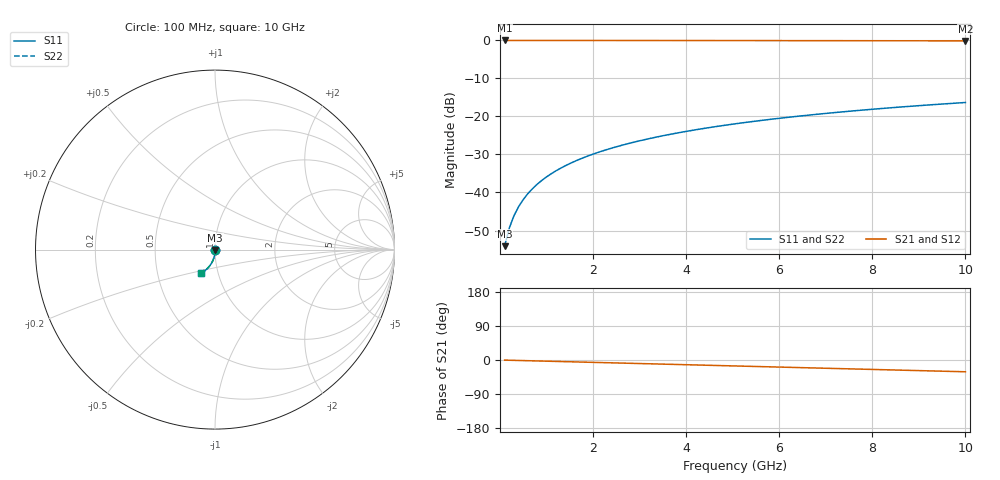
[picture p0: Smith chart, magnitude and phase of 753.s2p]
# Hz S RI R 50.00
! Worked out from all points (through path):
!   100 points, 100 MHz to 10 GHz, reference 50 ohm
!   highest |S21| = -0.01 dB at 100 MHz (marker M1); lowest = -0.1 dB at 10 GHz (marker M2)
!   group delay of S21, straight-line fit = 8.64 ps
!   lowest |S11| = -54.1 dB at 100 MHz (marker M3), VSWR 1.00, Z = 50.1 - j0.161 ohm
!   |S11| at or under -10 dB: start of sweep to end of sweep
!   |S22| runs from -54.1 to -16.3 dB; largest |S21 - S12| = 0
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1e8  0.00114 -0.0016  0.9988 -0.00542  0.9988 -0.00542  0.00114 -0.0016
2e8  0.00112 -0.00321  0.9988 -0.0108  0.9988 -0.0108  0.00112 -0.00321
3e8  0.00108 -0.00481  0.9987 -0.0163  0.9987 -0.0163  0.00108 -0.00481
4e8  0.00102 -0.00642  0.9986 -0.0217  0.9986 -0.0217  0.00102 -0.00642
5e8  0.00094 -0.00802  0.9984 -0.0271  0.9984 -0.0271  0.00094 -0.00802
6e8  0.000845 -0.00962  0.9982 -0.0325  0.9982 -0.0325  0.000845 -0.00962
7e8  0.000732 -0.0112  0.998 -0.0379  0.998 -0.0379  0.000732 -0.0112
8e8  0.000601 -0.0128  0.9978 -0.0433  0.9978 -0.0433  0.000601 -0.0128
9e8  0.000453 -0.0144  0.9975 -0.0487  0.9975 -0.0487  0.000453 -0.0144
1.1e9  0.000104 -0.0176  0.9968 -0.0596  0.9968 -0.0596  0.000104 -0.0176
1.4e9  -0.000549 -0.0224  0.9956 -0.0758  0.9956 -0.0758  -0.000549 -0.0224
1.8e9  -0.00166 -0.0287  0.9936 -0.0974  0.9936 -0.0974  -0.00166 -0.0287
2.1e9  -0.00268 -0.0334  0.9917 -0.1135  0.9917 -0.1135  -0.00268 -0.0334
2.5e9  -0.00427 -0.0397  0.9887 -0.135  0.9887 -0.135  -0.00427 -0.0397
2.9e9  -0.00614 -0.0458  0.9853 -0.1564  0.9853 -0.1564  -0.00614 -0.0458
3.4e9  -0.00884 -0.0534  0.9802 -0.183  0.9802 -0.183  -0.00884 -0.0534
4.2e9  -0.014 -0.0652  0.9706 -0.2253  0.9706 -0.2253  -0.014 -0.0652
5.1e9  -0.021 -0.0779  0.9573 -0.2722  0.9573 -0.2722  -0.021 -0.0779
5.9e9  -0.0283 -0.0886  0.9436 -0.3131  0.9436 -0.3131  -0.0283 -0.0886
6.7e9  -0.0364 -0.0986  0.9279 -0.3534  0.9279 -0.3534  -0.0364 -0.0986
8.4e9  -0.0564 -0.1173  0.8887 -0.4359  0.8887 -0.4359  -0.0564 -0.1173
1e10  -0.0779 -0.1311  0.8449 -0.5094  0.8449 -0.5094  -0.0779 -0.1311
